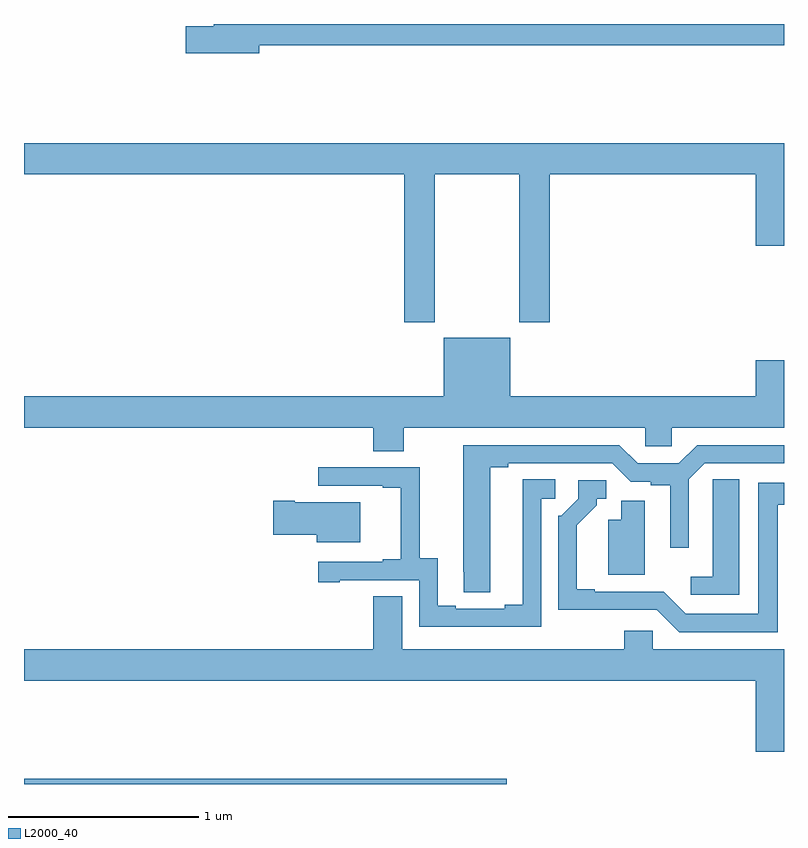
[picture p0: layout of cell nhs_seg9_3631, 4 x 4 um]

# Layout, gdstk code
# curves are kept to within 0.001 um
import gdstk
lib = gdstk.Library(unit=1e-6, precision=1e-09)
def R(c, l, rs):  # rectangles x0, y0, x1, y1
    for r in rs: c.add(gdstk.rectangle(r[:2], r[2:], *l))
def P(c, l, *ps):  # polygons
    for p in ps: c.add(gdstk.Polygon(p, *l))
L2000_40 = (2000, 40)

nhs_seg9_3631 = lib.new_cell('nhs_seg9_3631')
R(nhs_seg9_3631, L2000_40, [(317,1238.5,319.54,1238.528)])
P(nhs_seg9_3631, L2000_40, [(318.238,1242.388),(321,1242.388),(321,1242.5),(317.999,1242.5),(317.999,1242.488),(317.85,1242.488),(317.85,1242.346),(318.238,1242.346)],
  [(319.161,1241.708),(319.606,1241.708),(319.606,1240.929),(319.766,1240.929),(319.766,1241.708),(320.852,1241.708),(320.852,1241.334),(321,1241.334),(321,1241.872),(317,1241.872),(317,1241.708),(319.001,1241.708),(319.001,1240.929),(319.161,1240.929)],
  [(318.999,1240.376),(320.271,1240.376),(320.271,1240.278),(320.409,1240.278),(320.409,1240.376),(321,1240.376),(321,1240.729),(320.852,1240.729),(320.852,1240.54),(319.558,1240.54),(319.558,1240.849),(319.208,1240.849),(319.208,1240.54),(317,1240.54),(317,1240.376),(318.839,1240.376),(318.839,1240.252),(318.999,1240.252)],
  [(319.453,1240.168),(319.549,1240.168),(319.549,1240.188),(320.097,1240.188),(320.193,1240.092),(320.298,1240.092),(320.298,1240.072),(320.402,1240.072),(320.402,1239.744),(320.499,1239.744),(320.499,1240.104),(320.583,1240.188),(321,1240.188),(321,1240.284),(320.543,1240.284),(320.447,1240.188),(320.229,1240.188),(320.133,1240.284),(319.313,1240.284),(319.314,1239.508),(319.453,1239.508)],
  [(319.722,1240.002),(319.795,1240.002),(319.795,1240.103),(319.625,1240.103),(319.625,1239.443),(319.529,1239.443),(319.529,1239.423),(319.273,1239.423),(319.273,1239.438),(319.177,1239.438),(319.177,1239.689),(319.083,1239.689),(319.083,1240.167),(318.549,1240.167),(318.549,1240.071),(318.887,1240.071),(318.887,1240.059),(318.983,1240.059),(318.983,1239.682),(318.887,1239.682),(318.887,1239.669),(318.549,1239.669),(318.549,1239.561),(318.661,1239.561),(318.661,1239.573),(319.08,1239.573),(319.08,1239.327),(319.722,1239.327)],
  [(320.764,1240.103),(320.625,1240.103),(320.625,1239.995),(320.624,1239.995),(320.624,1239.592),(320.508,1239.592),(320.508,1239.495),(320.764,1239.495)],
  [(320.968,1239.97),(321,1239.97),(321,1240.086),(320.864,1240.086),(320.864,1239.396),(320.484,1239.396),(320.367,1239.513),(320.005,1239.513),(320.005,1239.526),(319.909,1239.526),(319.909,1239.862),(320.014,1239.967),(320.014,1240.002),(320.064,1240.002),(320.064,1240.098),(319.917,1240.098),(319.917,1240.002),(319.827,1239.912),(319.812,1239.912),(319.812,1239.416),(320.331,1239.417),(320.448,1239.3),(320.968,1239.3)],
  [(320.266,1239.99),(320.144,1239.99),(320.144,1239.892),(320.075,1239.892),(320.075,1239.602),(320.266,1239.602)],
  [(318.769,1239.982),(318.424,1239.982),(318.424,1239.99),(318.312,1239.99),(318.312,1239.812),(318.542,1239.812),(318.542,1239.773),(318.769,1239.773)],
  [(321,1239.208),(320.31,1239.208),(320.31,1239.306),(320.159,1239.306),(320.159,1239.208),(318.991,1239.208),(318.991,1239.488),(318.839,1239.488),(318.839,1239.208),(317,1239.208),(317,1239.044),(320.852,1239.044),(320.852,1238.67),(321,1238.67)])

lib.write_gds('nhs_seg9_3631.gds')
